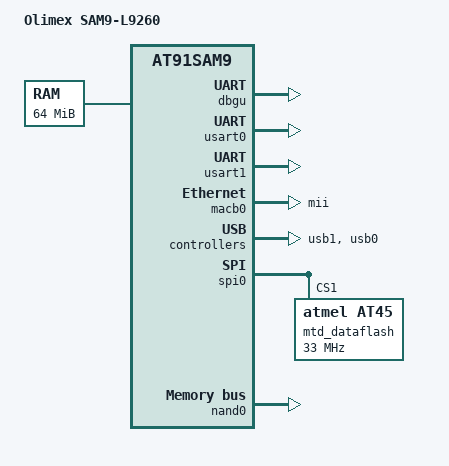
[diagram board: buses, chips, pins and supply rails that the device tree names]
/*
 * at91sam9260-smartweb.dts
 * (C) Copyright 2016
 * Heiko Schocher, DENX Software Engineering, hs@denx.de.
 *
 * Based on:
 * at91sam9g20ek.dts - Device Tree file for Atmel at91sam9g20ek board
 *
 * Copyright (C) 2012 Jean-Christophe PLAGNIOL-VILLARD <plagnioj@jcrosoft.com>
 *
 * Licensed under GPLv2.
 */
/dts-v1/;
#include "at91sam9260.dtsi"

/ {
	model = "Olimex SAM9-L9260";
	compatible = "atmel,at91sam9260", "atmel,at91sam9";

	aliases {
		spi0 = &spi0;
	};

	chosen {
		u-boot,dm-pre-reloc;
		stdout-path = &dbgu;
	};

	memory {
		reg = <0x20000000 0x4000000>;
	};

	clocks {
		slow_xtal {
			clock-frequency = <32768>;
		};

		main_xtal {
			clock-frequency = <18432000>;
		};
	};

	ahb {
		apb {
			dbgu: serial@fffff200 {
				u-boot,dm-pre-reloc;
				status = "okay";
			};

			usart0: serial@fffb0000 {
				pinctrl-0 =
					<&pinctrl_usart0
					 &pinctrl_usart0_rts
					 &pinctrl_usart0_cts
					 &pinctrl_usart0_dtr_dsr
					 &pinctrl_usart0_dcd
					 &pinctrl_usart0_ri>;
				status = "okay";
			};

			usart1: serial@fffb4000 {
				status = "okay";
			};

			macb0: ethernet@fffc4000 {
				pinctrl-0 =
					<&pinctrl_macb_rmii
					&pinctrl_macb_rmii_mii_alt>;
				phy-mode = "mii";
				status = "okay";
			};

			usb1: gadget@fffa4000 {
				atmel,vbus-gpio = <&pioC 5 GPIO_ACTIVE_HIGH>;
				status = "okay";
			};

			spi0: spi@fffc8000 {
				cs-gpios = <&pioC 11 0>;
				status = "okay";

				mtd_dataflash@0 {
					compatible = "atmel,at45", "atmel,dataflash";
					spi-max-frequency = <33000000>;
					reg = <1>;
				};
			};

			ssc0: ssc@fffbc000 {
				status = "okay";
				pinctrl-0 = <&pinctrl_ssc0_tx>;
			};

			rtc@fffffd20 {
				atmel,rtt-rtc-time-reg = <&gpbr 0x0>;
				status = "okay";
			};

			watchdog@fffffd40 {
				timeout-sec = <15>;
				status = "okay";
			};

			gpbr: syscon@fffffd50 {
				status = "okay";
			};
		};

		nand0: nand@40000000 {
			nand-bus-width = <8>;
			nand-ecc-mode = "soft";
			nand-on-flash-bbt;
			status = "okay";
		};

		usb0: ohci@00500000 {
			compatible = "generic-ohci", "atmel,at91rm9200-ohci", "usb-ohci";
			status = "okay";
		};
	};
};
